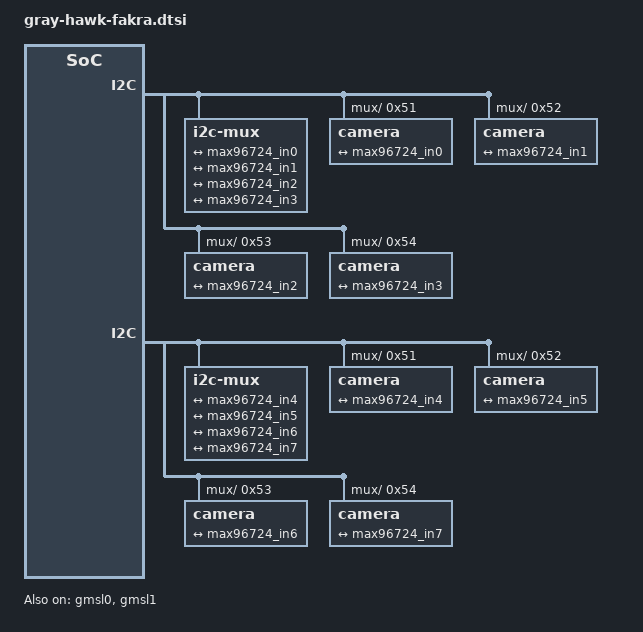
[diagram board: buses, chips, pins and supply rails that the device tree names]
// SPDX-License-Identifier: GPL-2.0+
/*
 * Device Tree Source (overlay) for the Gray Hawk V4M FAKRA connectors
 *
 * Copyright (C) 2023 Renesas Electronics Corp.
 *
 * This overlay allows you to define cameras connected to the FAKRA connectors
 * on the GrayHawk-V4M (or compatible) board.
 *
 * Enable the cameras by specifying the camera compatible on the appropriate
 * line. Comment out the defines to disconnect the camera from the DTB.
 */

#include <dt-bindings/gpio/gpio.h>

#define GRAYHAWK_CAMERA0  "dummy,camera"
#define GRAYHAWK_CAMERA1  "dummy,camera"
#define GRAYHAWK_CAMERA2  "dummy,camera"
#define GRAYHAWK_CAMERA3  "dummy,camera"
#define GRAYHAWK_CAMERA4  "dummy,camera"
#define GRAYHAWK_CAMERA5  "dummy,camera"
#define GRAYHAWK_CAMERA6  "dummy,camera"
#define GRAYHAWK_CAMERA7  "dummy,camera"

/* Define the endpoint links */
#ifdef GRAYHAWK_CAMERA0
&max96724_in0 {
	remote-endpoint = <&fakra_con0>;
};
#endif

#ifdef GRAYHAWK_CAMERA1
&max96724_in1 {
	remote-endpoint = <&fakra_con1>;
};
#endif

#ifdef GRAYHAWK_CAMERA2
&max96724_in2 {
	remote-endpoint = <&fakra_con2>;
};
#endif

#ifdef GRAYHAWK_CAMERA3
&max96724_in3 {
	remote-endpoint = <&fakra_con3>;
};
#endif

#ifdef GRAYHAWK_CAMERA4
&max96724_in4 {
	remote-endpoint = <&fakra_con4>;
};
#endif

#ifdef GRAYHAWK_CAMERA5
&max96724_in5 {
	remote-endpoint = <&fakra_con5>;
};
#endif

#ifdef GRAYHAWK_CAMERA6
&max96724_in6 {
	remote-endpoint = <&fakra_con6>;
};
#endif

#ifdef GRAYHAWK_CAMERA7
&max96724_in7 {
	remote-endpoint = <&fakra_con7>;
};
#endif

/* Cameras are 'attached' to the GMSL I2C busses */
&gmsl0 {

#if defined(GRAYHAWK_CAMERA0) || defined(GRAYHAWK_CAMERA1) || \
	defined(GRAYHAWK_CAMERA2) || defined(GRAYHAWK_CAMERA3)
	status = "okay";

#endif

	i2c-mux {
#ifdef GRAYHAWK_CAMERA0
		i2c@0 {
			status = "okay";

			camera@51 {
				compatible = GRAYHAWK_CAMERA0;
				reg = <0x51>;

				port {
					fakra_con0: endpoint {
						remote-endpoint = <&max96724_in0>;
					};
				};
			};
		};
#endif

#ifdef GRAYHAWK_CAMERA1
		i2c@1 {
			status = "okay";

			camera@52 {
				compatible = GRAYHAWK_CAMERA1;
				reg = <0x52>;

				port {
					fakra_con1: endpoint {
						remote-endpoint = <&max96724_in1>;
					};
				};
			};
		};
#endif

#ifdef GRAYHAWK_CAMERA2
		i2c@2 {
			status = "okay";

			camera@53 {
				compatible = GRAYHAWK_CAMERA2;
				reg = <0x53>;

				port {
					fakra_con2: endpoint {
						remote-endpoint = <&max96724_in2>;
					};
				};
			};
		};
#endif

#ifdef GRAYHAWK_CAMERA3
		i2c@3 {
			status = "okay";

			camera@54 {
				compatible = GRAYHAWK_CAMERA3;
				reg = <0x54>;

				port {
					fakra_con3: endpoint {
						remote-endpoint = <&max96724_in3>;
					};
				};
			};
		};
#endif
	};
};

&gmsl1 {

#if defined(GRAYHAWK_CAMERA4) || defined(GRAYHAWK_CAMERA5) || \
	defined(GRAYHAWK_CAMERA6) || defined(GRAYHAWK_CAMERA7)
	status = "okay";

#endif

	i2c-mux {
#ifdef GRAYHAWK_CAMERA4
		i2c@0 {
			status = "okay";

			camera@51 {
				compatible = GRAYHAWK_CAMERA4;
				reg = <0x51>;

				port {
					fakra_con4: endpoint {
						remote-endpoint = <&max96724_in4>;
					};
				};
			};
		};
#endif

#ifdef GRAYHAWK_CAMERA5
		i2c@1 {
			status = "okay";

			camera@52 {
				compatible = GRAYHAWK_CAMERA5;
				reg = <0x52>;

				port {
					fakra_con5: endpoint {
						remote-endpoint = <&max96724_in5>;
					};
				};
			};
		};
#endif

#ifdef GRAYHAWK_CAMERA6
		i2c@2 {
			status = "okay";

			camera@53 {
				compatible = GRAYHAWK_CAMERA6;
				reg = <0x53>;

				port {
					fakra_con6: endpoint {
						remote-endpoint = <&max96724_in6>;
					};
				};
			};
		};
#endif

#ifdef GRAYHAWK_CAMERA7
		i2c@3 {
			status = "okay";

			camera@54 {
				compatible = GRAYHAWK_CAMERA7;
				reg = <0x54>;

				port {
					fakra_con7: endpoint {
						remote-endpoint = <&max96724_in7>;
					};
				};
			};
		};
#endif
	};
};
